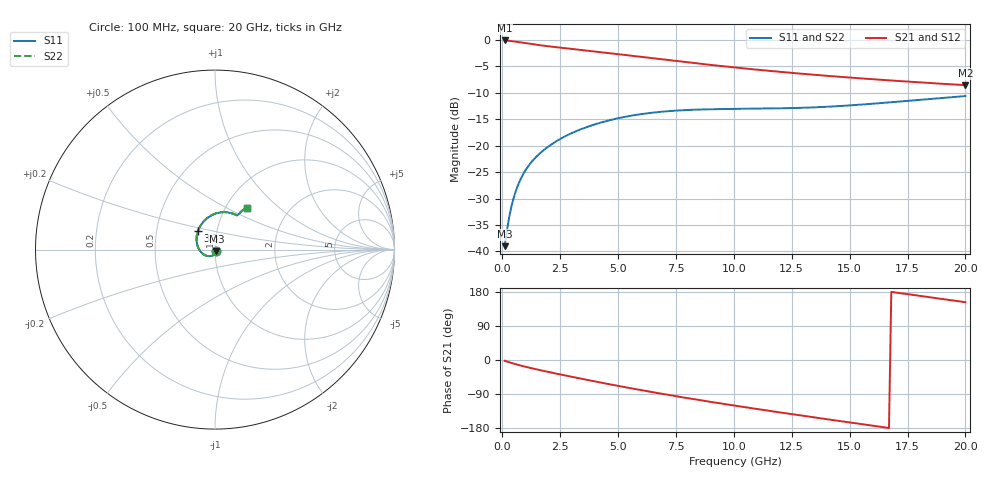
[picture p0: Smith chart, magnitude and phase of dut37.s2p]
! Touchstone file exported from HFSS 2023.1.0
!  File:  D:/Users/fzz/RDL_TSV/temp_RDL_TSV_37_1778744554.aedt
!  Generated:  3:48:37 %x4E0B%x5348  5%x6708 14, 2026
!  Design:  RDL_TSV
!  Project:  temp_RDL_TSV_37_1778744554
!  Setup:  Setup1
!  Solution:  Sweep
! Variables:
!  dtsv = 24.33um
!  hbump = 3um
!  htsv = 50.87um
!  ldown = 112.4um
!  lrdl = 639.81um
!  p = 40
!  p1 = 55.11um
!  rhole = 10um
!  subl = 2896.44um
!  t = 450um
!  tdown = 4.7um
!  trdl = 4.32um
!  viad = 10um
!  wdown = 29.13um
!  wrdl = 27.81um
!  xbump = 18um
# GHz S MA R 50.000000
! Terminal data exported
! Port[1] = TM1_1_T1
! Port[2] = TM1_4_T1
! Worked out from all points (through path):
!   200 points, 100 MHz to 20 GHz, reference 50 ohm
!   highest |S21| = -0.09 dB at 100 MHz (marker M1); lowest = -8.5 dB at 20 GHz (marker M2)
!   group delay of S21, straight-line fit = 27.5 ps
!   lowest |S11| = -39.0 dB at 100 MHz (marker M3), VSWR 1.02, Z = 50.8 - j0.765 ohm
!   |S11| at or under -10 dB: start of sweep to end of sweep
!   |S22| runs from -39.0 to -10.6 dB; largest |S21 - S12| = 9.2e-15
!   S11 on the Smith chart (normalised r, x): 100 MHz: 1.02, -0.02; 3.3 GHz: 0.81, +0.17; 20 GHz: 1.25, +0.64
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0.1  0.01123 -42.1  0.9898 -2.1  0.9898 -2.1  0.01123 -42.1
! Gamma 0 0 0 0
! Port Impedance 50 0 50 0
0.2  0.01582 -68.3  0.9866 -4.1  0.9866 -4.1  0.01581 -68.3
0.3  0.02127 -85.0  0.9817 -6.0  0.9817 -6.0  0.02127 -85.0
0.5  0.03262 -107.4  0.9692 -9.7  0.9692 -9.7  0.03262 -107.4
0.7  0.04356 -124.0  0.9549 -13.1  0.9549 -13.1  0.04357 -124.1
1  0.05852 -144.2  0.9332 -17.8  0.9332 -17.8  0.05857 -144.3
1.4  0.07594 -166.0  0.9062 -23.6  0.9062 -23.6  0.07607 -166.1
1.9  0.09502 172.4  0.8767 -30.3  0.8767 -30.3  0.09529 172.3
2.6  0.1191 149.6  0.8411 -39.3  0.8411 -39.3  0.1196 149.5
3.3  0.1405 132.4  0.8088 -48.0  0.8088 -48.0  0.1412 132.3
3.5  0.1461 128.2  0.7999 -50.5  0.7999 -50.5  0.1469 128.0
4.2  0.1643 115.0  0.7689 -58.9  0.7689 -58.9  0.1653 114.9
5  0.182 102.6  0.7342 -68.3  0.7342 -68.3  0.1833 102.5
5.9  0.1977 91.2  0.6961 -78.4  0.6961 -78.4  0.1993 91.0
6.8  0.2089 81.9  0.6598 -88.2  0.6598 -88.2  0.2107 81.7
8.4  0.2195 69.8  0.6011 -104.6  0.6011 -104.6  0.2215 69.6
10.1  0.2231 61.9  0.5481 -121.0  0.5481 -121.0  0.2251 61.6
11.7  0.225 58.1  0.5066 -135.7  0.5066 -135.7  0.227 57.7
13.4  0.2303 56.5  0.47 -150.8  0.47 -150.8  0.232 56.1
15  0.2406 56.2  0.4412 -164.8  0.4412 -164.8  0.242 55.7
16.7  0.2568 55.7  0.4152 -179.4  0.4152 -179.4  0.2579 55.2
20  0.2948 52.6  0.374 152.5  0.374 152.5  0.2955 52.3
